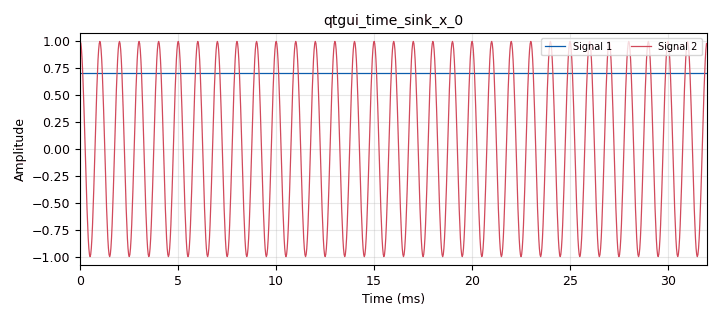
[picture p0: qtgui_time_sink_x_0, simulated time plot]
options:
  parameters:
    author: JUAN_WILLIAM_TATIANA
    generate_options: qt_gui
    id: Rms
    output_language: python
    title: Valor RMS
  states: {}

blocks:
- name: samp_rate
  id: variable
  parameters:
    value: '32000'
  states: {}
- name: analog_sig_source_x_0
  id: analog_sig_source_x
  parameters:
    amp: '1'
    freq: '1000'
    offset: '0'
    phase: '0'
    samp_rate: samp_rate
    type: float
    waveform: analog.GR_COS_WAVE
  states: {}
- name: blocks_throttle_0
  id: blocks_throttle
  parameters:
    samples_per_second: samp_rate
    type: float
  states: {}
- name: epy_block_0
  id: epy_block
  parameters:
    _source_code: |
      import numpy as np
      from gnuradio import gr


      class blk(gr.sync_block):
      	def __init__( self ) : # only default arguments here
      		gr.sync_block.__init__(
      		self,
      		name ="RMS", # will show up in GRC
      		in_sig =[np.float32],
      		out_sig =[np.float32]
      		)	
      	def work(self, input_items, output_items ):
      		x = input_items[0]**2 # Senial de entrada .
      		y0 = output_items[0] # Senial acumulada
      		y0 [:] = np.sqrt(np.mean(x))
      		return len(y0)
  states: {}
- name: qtgui_time_sink_x_0
  id: qtgui_time_sink_x
  parameters:
    nconnections: '2'
    size: '1024'
    srate: samp_rate
    type: float
  states: {}

connections:
- [analog_sig_source_x_0, '0', blocks_throttle_0, '0']
- [blocks_throttle_0, '0', epy_block_0, '0']
- [blocks_throttle_0, '0', qtgui_time_sink_x_0, '1']
- [epy_block_0, '0', qtgui_time_sink_x_0, '0']

metadata:
  file_format: 1
  grc_version: 3.9.8.0
